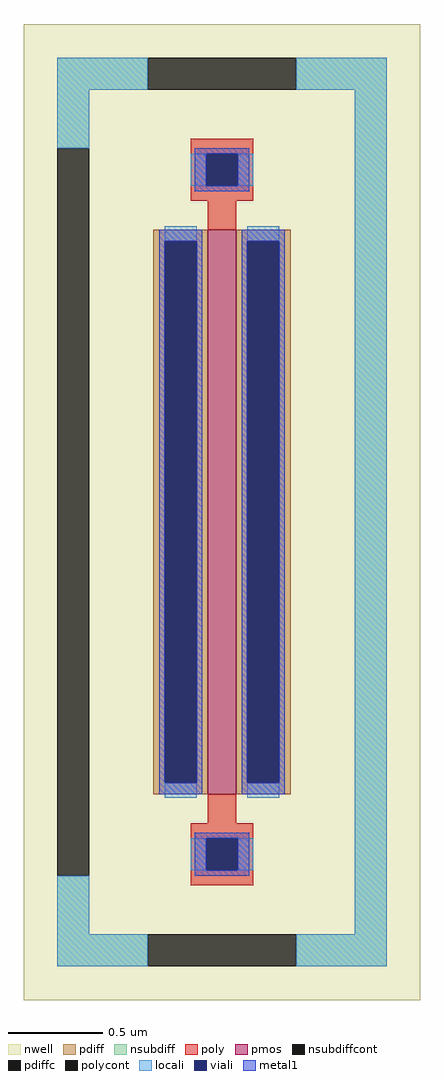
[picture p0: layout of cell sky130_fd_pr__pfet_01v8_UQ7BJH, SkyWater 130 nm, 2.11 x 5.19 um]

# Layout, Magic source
magic
tech sky130B
magscale 1 2
<< nwell >>
rect -211 -519 211 519
<< pmos >>
rect -15 -300 15 300
<< pdiff >>
rect -73 288 -15 300
rect -73 -288 -61 288
rect -27 -288 -15 288
rect -73 -300 -15 -288
rect 15 288 73 300
rect 15 -288 27 288
rect 61 -288 73 288
rect 15 -300 73 -288
<< pdiffc >>
rect -61 -288 -27 288
rect 27 -288 61 288
<< nsubdiff >>
rect -175 449 -79 483
rect 79 449 175 483
rect -175 387 -141 449
rect -175 -449 -141 -387
rect 141 -449 175 449
rect -175 -483 -79 -449
rect 79 -483 175 -449
<< nsubdiffcont >>
rect -79 449 79 483
rect -175 -387 -141 387
rect -79 -483 79 -449
<< poly >>
rect -33 381 33 397
rect -33 347 -17 381
rect 17 347 33 381
rect -33 331 33 347
rect -15 300 15 331
rect -15 -331 15 -300
rect -33 -347 33 -331
rect -33 -381 -17 -347
rect 17 -381 33 -347
rect -33 -397 33 -381
<< polycont >>
rect -17 347 17 381
rect -17 -381 17 -347
<< locali >>
rect -175 449 -79 483
rect 79 449 175 483
rect -175 387 -141 449
rect -33 347 -17 381
rect 17 347 33 381
rect -61 288 -27 304
rect -61 -304 -27 -288
rect 27 288 61 304
rect 27 -304 61 -288
rect -33 -381 -17 -347
rect 17 -381 33 -347
rect -175 -449 -141 -387
rect 141 -449 175 449
rect -175 -483 -79 -449
rect 79 -483 175 -449
<< viali >>
rect -17 347 17 381
rect -61 -288 -27 288
rect 27 -288 61 288
rect -17 -381 17 -347
<< metal1 >>
rect -29 381 29 387
rect -29 347 -17 381
rect 17 347 29 381
rect -29 341 29 347
rect -67 288 -21 300
rect -67 -288 -61 288
rect -27 -288 -21 288
rect -67 -300 -21 -288
rect 21 288 67 300
rect 21 -288 27 288
rect 61 -288 67 288
rect 21 -300 67 -288
rect -29 -347 29 -341
rect -29 -381 -17 -347
rect 17 -381 29 -347
rect -29 -387 29 -381
<< properties >>
string FIXED_BBOX -158 -466 158 466
string gencell sky130_fd_pr__pfet_01v8
string library sky130
string parameters w 3 l 0.15 m 1 nf 1 diffcov 100 polycov 100 guard 1 glc 1 grc 0 gtc 1 gbc 1 tbcov 100 rlcov 100 topc 1 botc 1 poverlap 0 doverlap 1 lmin 0.15 wmin 0.42 compatible {sky130_fd_pr__pfet_01v8  sky130_fd_pr__pfet_01v8_lvt sky130_fd_pr__pfet_01v8_hvt  sky130_fd_pr__pfet_g5v0d10v5} full_metal 1 viasrc 100 viadrn 100 viagate 100 viagb 0 viagr 0 viagl 0 viagt 0
<< end >>
